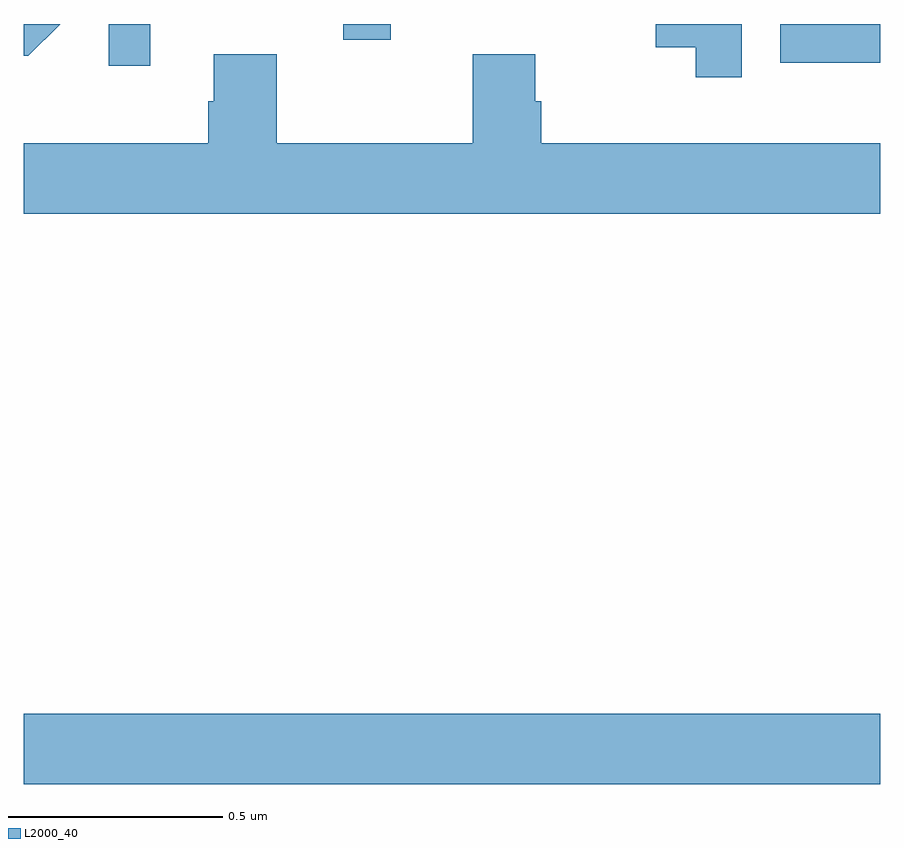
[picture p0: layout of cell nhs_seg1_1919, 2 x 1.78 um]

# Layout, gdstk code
import gdstk
lib = gdstk.Library(unit=1e-6, precision=1e-09)
def R(c, l, rs):  # rectangles x0, y0, x1, y1
    for r in rs: c.add(gdstk.rectangle(r[:2], r[2:], *l))
def P(c, l, *ps):  # polygons
    for p in ps: c.add(gdstk.Polygon(p, *l))
L2000_40 = (2000, 40)

nhs_seg1_1919 = lib.new_cell('nhs_seg1_1919')
R(nhs_seg1_1919, L2000_40, [(135,526.424,137,526.588), (135.198,528.102,135.295,528.199), (136.767,528.108,137,528.199), (135.746,528.162,135.857,528.199)])
P(nhs_seg1_1919, L2000_40, [(135.085,528.199),(135,528.199),(135,528.125),(135.01,528.125)],
  [(136.677,528.199),(136.476,528.199),(136.476,528.145),(136.569,528.145),(136.569,528.075),(136.677,528.075)],
  [(137,527.92),(136.208,527.92),(136.208,528.018),(136.195,528.018),(136.195,528.128),(136.048,528.128),(136.048,527.92),(135.591,527.92),(135.591,528.128),(135.443,528.128),(135.443,528.018),(135.431,528.018),(135.431,527.92),(135,527.92),(135,527.756),(137,527.756)])

lib.write_gds('nhs_seg1_1919.gds')
